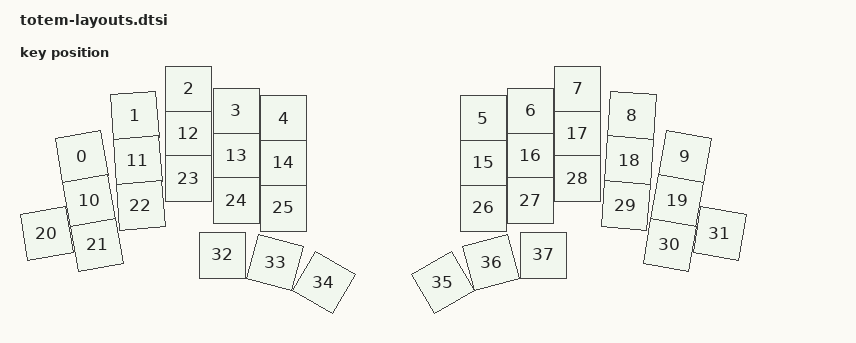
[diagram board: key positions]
/*
 * Copyright (c) 2022 The ZMK Contributors
 *
 * SPDX-License-Identifier: MIT
 */

#include <physical_layouts.dtsi>

/ {
    totem_layout: totem_layout {
        compatible = "zmk,physical-layout";
        display-name = "TOTEM Keyboard Layout";
        transform = <&default_transform>;
        keys 
            /* --- Ряд 1 (Верхний, 10 клавиш) --- */
            = <&key_physical_attrs 100 100   70  136 (-1000)   120   186>
            , <&key_physical_attrs 100 100  176   54  (-400)   226   104>
            , <&key_physical_attrs 100 100  284    0       0     0     0>
            , <&key_physical_attrs 100 100  379   44       0     0     0>
            , <&key_physical_attrs 100 100  474   59       0     0     0>
            , <&key_physical_attrs 100 100  873   59       0     0     0>
            , <&key_physical_attrs 100 100  968   44       0     0     0>
            , <&key_physical_attrs 100 100 1062    0       0     0     0>
            , <&key_physical_attrs 100 100 1171   54     400  1221   104>
            , <&key_physical_attrs 100 100 1277  136    1000  1327   186>

            /* --- Ряд 2 (Средний, 10 клавиш) --- */
            , <&key_physical_attrs 100 100   85  224 (-1000)   135   274>
            , <&key_physical_attrs 100 100  182  143  (-400)   232   193>
            , <&key_physical_attrs 100 100  284   90       0     0     0>
            , <&key_physical_attrs 100 100  379  134       0     0     0>
            , <&key_physical_attrs 100 100  474  148       0     0     0>
            , <&key_physical_attrs 100 100  873  148       0     0     0>
            , <&key_physical_attrs 100 100  968  134       0     0     0>
            , <&key_physical_attrs 100 100 1062   90       0     0     0>
            , <&key_physical_attrs 100 100 1165  143     400  1215   193>
            , <&key_physical_attrs 100 100 1261  224    1000  1311   274>

            /* --- Ряд 3 (Нижний, 12 клавиш) --- */
            /* 1. Левый внешний (Shift) - перенесен с позиции 30 */
            , <&key_physical_attrs 100 100    0  289 (-1000)    50   339> 
            /* 2-11. Основной нижний ряд (Z-/) - сдвинуты */
            , <&key_physical_attrs 100 100  101  312 (-1000)   151   362>
            , <&key_physical_attrs 100 100  188  233  (-400)   238   283>
            , <&key_physical_attrs 100 100  284  179       0     0     0>
            , <&key_physical_attrs 100 100  379  223       0     0     0>
            , <&key_physical_attrs 100 100  474  238       0     0     0>
            , <&key_physical_attrs 100 100  873  238       0     0     0>
            , <&key_physical_attrs 100 100  968  223       0     0     0>
            , <&key_physical_attrs 100 100 1062  179       0     0     0>
            , <&key_physical_attrs 100 100 1158  233     400  1208   283>
            , <&key_physical_attrs 100 100 1246  312    1000  1296   362>
            /* 12. Правый внешний - перенесен с позиции 37 */
            , <&key_physical_attrs 100 100 1346  289    1000  1396   339> 

            /* --- Тамбы (6 клавиш) --- */
            /* Перенесены в конец списка, чтобы соответствовать 4-й строке мапа */
            , <&key_physical_attrs 100 100  352  332       0     0     0>
            , <&key_physical_attrs 100 100  457  347    1500   507   397>
            , <&key_physical_attrs 100 100  554  387    3000   604   437>
            , <&key_physical_attrs 100 100  792  387 (-3000)   842   437>
            , <&key_physical_attrs 100 100  889  347 (-1500)   939   397>
            , <&key_physical_attrs 100 100  994  332       0     0     0>
        ;
    };
};
